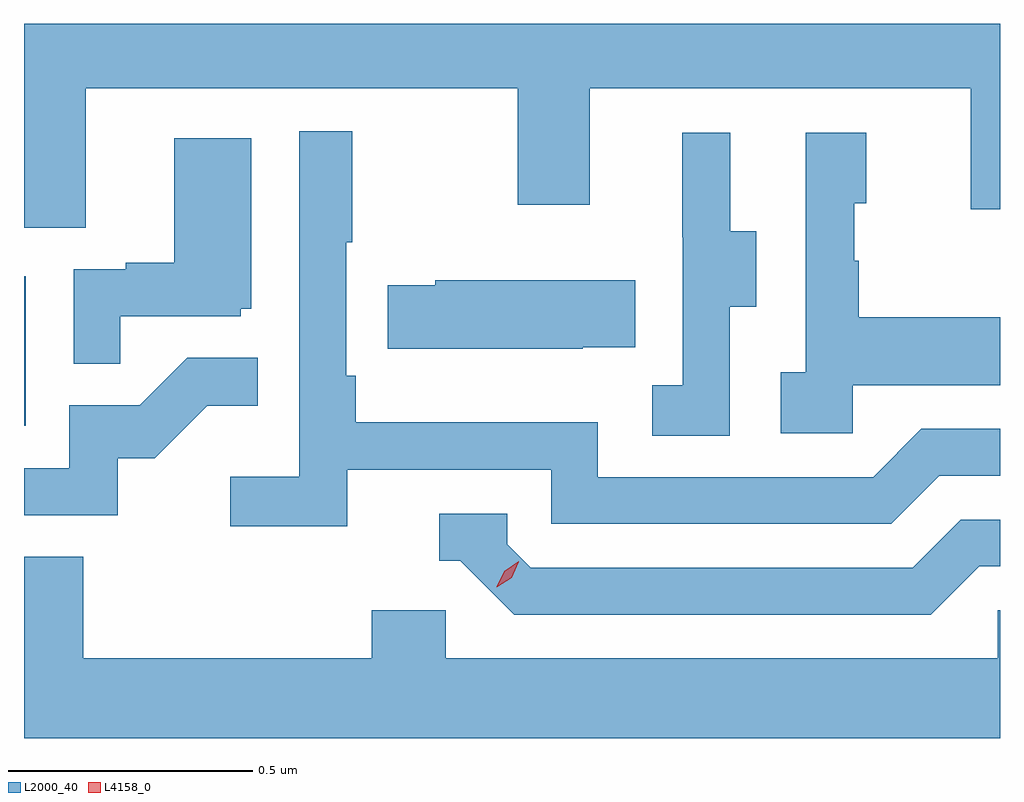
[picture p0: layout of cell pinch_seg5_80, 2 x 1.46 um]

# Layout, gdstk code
import gdstk
lib = gdstk.Library(unit=1e-6, precision=1e-09)
def R(c, l, rs):  # rectangles x0, y0, x1, y1
    for r in rs: c.add(gdstk.rectangle(r[:2], r[2:], *l))
def P(c, l, *ps):  # polygons
    for p in ps: c.add(gdstk.Polygon(p, *l))
L2000_40 = (2000, 40)
L4158_0 = (4158, 0)

pinch_seg5_80 = lib.new_cell('pinch_seg5_80')
R(pinch_seg5_80, L2000_40, [(1036.386,914.676,1036.39,914.983)])
P(pinch_seg5_80, L2000_40, [(1036.513,915.368),(1037.398,915.368),(1037.398,915.129),(1037.545,915.129),(1037.545,915.368),(1038.326,915.368),(1038.326,915.12),(1038.386,915.12),(1038.386,915.5),(1036.386,915.5),(1036.386,915.082),(1036.513,915.082)],
  [(1037.048,914.586),(1037.466,914.586),(1037.466,914.475),(1038.163,914.475),(1038.262,914.574),(1038.386,914.574),(1038.386,914.67),(1038.225,914.67),(1038.126,914.571),(1037.562,914.571),(1037.562,914.683),(1037.066,914.683),(1037.066,914.779),(1037.046,914.779),(1037.046,915.052),(1037.059,915.052),(1037.059,915.28),(1036.95,915.28),(1036.95,914.572),(1036.809,914.572),(1036.809,914.47),(1037.048,914.47)],
  [(1038.084,914.759),(1038.386,914.759),(1038.386,914.899),(1038.097,914.899),(1038.097,915.014),(1038.087,915.014),(1038.087,915.132),(1038.112,915.132),(1038.112,915.277),(1037.988,915.277),(1037.988,914.786),(1037.937,914.786),(1037.937,914.661),(1038.084,914.661)],
  [(1037.832,914.92),(1037.887,914.92),(1037.887,915.075),(1037.833,915.075),(1037.833,915.277),(1037.735,915.277),(1037.735,915.063),(1037.736,915.063),(1037.736,914.759),(1037.673,914.759),(1037.673,914.656),(1037.832,914.656)],
  [(1036.583,914.901),(1036.83,914.901),(1036.83,914.916),(1036.852,914.916),(1036.852,915.265),(1036.694,915.265),(1036.694,915.01),(1036.595,915.01),(1036.595,914.997),(1036.488,914.997),(1036.488,914.803),(1036.583,914.803)],
  [(1037.531,914.837),(1037.639,914.837),(1037.639,914.974),(1037.229,914.974),(1037.229,914.964),(1037.131,914.964),(1037.131,914.834),(1037.531,914.834)],
  [(1036.578,914.61),(1036.654,914.61),(1036.761,914.717),(1036.865,914.717),(1036.865,914.816),(1036.721,914.816),(1036.623,914.718),(1036.479,914.718),(1036.479,914.589),(1036.386,914.589),(1036.386,914.493),(1036.578,914.493)],
  [(1038.343,914.388),(1038.386,914.388),(1038.386,914.484),(1038.306,914.484),(1038.207,914.385),(1037.424,914.385),(1037.376,914.433),(1037.376,914.496),(1037.237,914.496),(1037.237,914.4),(1037.28,914.4),(1037.391,914.289),(1038.244,914.289)],
  [(1038.386,914.298),(1038.381,914.298),(1038.381,914.2),(1037.25,914.2),(1037.25,914.298),(1037.099,914.298),(1037.099,914.2),(1036.507,914.2),(1036.507,914.408),(1036.386,914.408),(1036.386,914.036),(1038.386,914.036)])
P(pinch_seg5_80, L4158_0, [(1037.355,914.345),(1037.355,914.346),(1037.37,914.378),(1037.4,914.399),(1037.4,914.399),(1037.4,914.398),(1037.385,914.365),(1037.355,914.345)])

lib.write_gds('pinch_seg5_80.gds')
